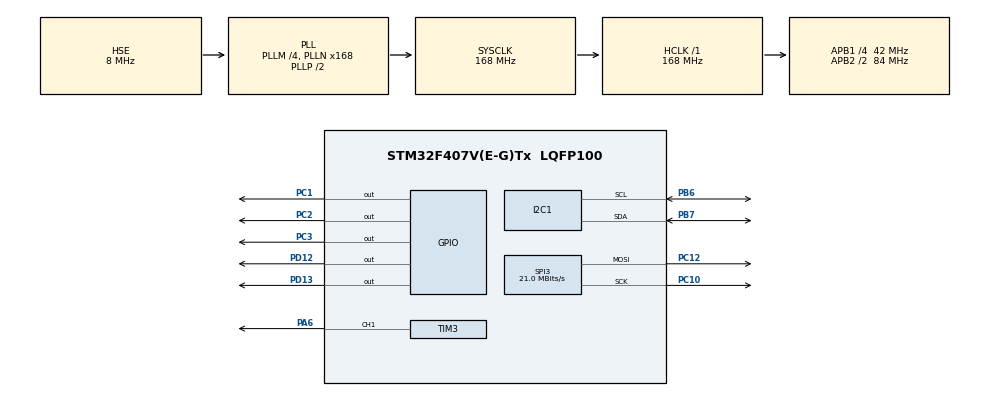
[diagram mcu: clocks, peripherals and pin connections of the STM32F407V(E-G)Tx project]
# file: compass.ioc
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Mcu.Family=STM32F4
Mcu.Name=STM32F407V(E-G)Tx
Mcu.Package=LQFP100
NVIC.PriorityGroup=NVIC_PRIORITYGROUP_4
PA6.Signal=S_TIM3_CH1
PB6.Mode=I2C
PB6.Signal=I2C1_SCL
PB7.Mode=I2C
PB7.Signal=I2C1_SDA
PC1.Signal=GPIO_Output
PC10.Mode=TX_Only_Simplex_Unidirect_Master
PC10.Signal=SPI3_SCK
PC12.Mode=TX_Only_Simplex_Unidirect_Master
PC12.Signal=SPI3_MOSI
PC2.Signal=GPIO_Output
PC3.Signal=GPIO_Output
PD12.GPIO_ModeDefaultOutputPP=GPIO_MODE_OUTPUT_PP
PD12.GPIO_PuPd=GPIO_PULLDOWN
PD12.Signal=GPIO_Output
PD13.GPIO_PuPd=GPIO_PULLDOWN
PD13.Signal=GPIO_Output
PH0-OSC_IN.Mode=HSE-External-Oscillator
PH0-OSC_IN.Signal=RCC_OSC_IN
PH1-OSC_OUT.Mode=HSE-External-Oscillator
PH1-OSC_OUT.Signal=RCC_OSC_OUT
ProjectManager.HeapSize=0x200
ProjectManager.StackSize=0x400
ProjectManager.TargetToolchain=SW4STM32
RCC.48MHZClocksFreq_Value=84000000
RCC.AHBFreq_Value=168000000
RCC.APB1CLKDivider=RCC_HCLK_DIV4
RCC.APB1Freq_Value=42000000
RCC.APB1TimFreq_Value=84000000
RCC.APB2CLKDivider=RCC_HCLK_DIV2
RCC.APB2Freq_Value=84000000
RCC.APB2TimFreq_Value=168000000
RCC.CortexFreq_Value=168000000
RCC.HCLKFreq_Value=168000000
RCC.HSE_VALUE=8000000
RCC.HSI_VALUE=16000000
RCC.LSE_VALUE=32768
RCC.PLLM=4
RCC.PLLN=168
RCC.PLLSourceVirtual=RCC_PLLSOURCE_HSE
RCC.SYSCLKFreq_VALUE=168000000
RCC.SYSCLKSource=RCC_SYSCLKSOURCE_PLLCLK
RCC.VCOOutputFreq_Value=336000000
SH.S_TIM3_CH1.0=TIM3_CH1,PWM Generation1 CH1
SPI3.CalculateBaudRate=21.0 MBits/s
SPI3.Direction=SPI_DIRECTION_2LINES
SPI3.Mode=SPI_MODE_MASTER
SPI3.VirtualType=VM_MASTER
TIM3.Channel-PWM\ Generation1\ CH1=TIM_CHANNEL_1
TIM3.Period=999
TIM3.Prescaler=299
TIM3.Pulse-PWM\ Generation1\ CH1=50
board=custom

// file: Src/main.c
/* USER CODE BEGIN Header */
/**
  ******************************************************************************
  * @file           : main.c
  * @brief          : Main program body
  ******************************************************************************
  ** This notice applies to any and all portions of this file
  * that are not between comment pairs USER CODE BEGIN and
  * USER CODE END. Other portions of this file, whether
  * inserted by the user or by software development tools
  * are owned by their respective copyright owners.
  *
  * COPYRIGHT(c) 2019 STMicroelectronics
  *
  * Redistribution and use in source and binary forms, with or without modification,
  * are permitted provided that the following conditions are met:
  *   1. Redistributions of source code must retain the above copyright notice,
  *      this list of conditions and the following disclaimer.
  *   2. Redistributions in binary form must reproduce the above copyright notice,
  *      this list of conditions and the following disclaimer in the documentation
  *      and/or other materials provided with the distribution.
  *   3. Neither the name of STMicroelectronics nor the names of its contributors
  *      may be used to endorse or promote products derived from this software
  *      without specific prior written permission.
  *
  * THIS SOFTWARE IS PROVIDED BY THE COPYRIGHT HOLDERS AND CONTRIBUTORS "AS IS"
  * AND ANY EXPRESS OR IMPLIED WARRANTIES, INCLUDING, BUT NOT LIMITED TO, THE
  * IMPLIED WARRANTIES OF MERCHANTABILITY AND FITNESS FOR A PARTICULAR PURPOSE ARE
  * DISCLAIMED. IN NO EVENT SHALL THE COPYRIGHT HOLDER OR CONTRIBUTORS BE LIABLE
  * FOR ANY DIRECT, INDIRECT, INCIDENTAL, SPECIAL, EXEMPLARY, OR CONSEQUENTIAL
  * DAMAGES (INCLUDING, BUT NOT LIMITED TO, PROCUREMENT OF SUBSTITUTE GOODS OR
  * SERVICES; LOSS OF USE, DATA, OR PROFITS; OR BUSINESS INTERRUPTION) HOWEVER
  * CAUSED AND ON ANY THEORY OF LIABILITY, WHETHER IN CONTRACT, STRICT LIABILITY,
  * OR TORT (INCLUDING NEGLIGENCE OR OTHERWISE) ARISING IN ANY WAY OUT OF THE USE
  * OF THIS SOFTWARE, EVEN IF ADVISED OF THE POSSIBILITY OF SUCH DAMAGE.
  *
  ******************************************************************************
  */
/* USER CODE END Header */

#include "main.h"

/* USER CODE BEGIN Includes */
#include <math.h>
#include <stdlib.h>

#include "font.h"
/* USER CODE END Includes */

/* USER CODE BEGIN PTD */
    typedef struct vectorint
    {
      int16_t x, y, z;
    } vectori;
    typedef struct vectorfloat
    {
      float x, y, z;
    } vectorf;
/* USER CODE END PTD */

/* USER CODE BEGIN PD */
#define LSM303D_ADDR				0x3a
#define LSM303D_TEMP_OUT			0x05
#define LSM303D_STATUS_M			0x07
#define LSM303D_OUT_X_M				0x08
#define LSM303D_OUT_Y_M				0x0a
#define LSM303D_OUT_Z_M				0x0c
#define LSM303D_WHO_AM_I			0x0f
#define LSM303D_CTRL0				0x1f
#define LSM303D_CTRL1				0x20
#define LSM303D_CTRL2				0x21
#define LSM303D_CTRL3				0x22
#define LSM303D_CTRL4				0x23
#define LSM303D_CTRL5				0x24
#define LSM303D_CTRL6				0x25
#define LSM303D_CTRL7				0x26
#define LSM303D_STATUS				0x27
#define LSM303D_OUT_X_A				0x28
#define LSM303D_OUT_Y_A				0x2a
#define LSM303D_OUT_Z_A				0x2c

#define LCD_DC			GPIO_PIN_1
#define LCD_CE			GPIO_PIN_2
#define LCD_RST			GPIO_PIN_3

#define PCD8544_FUNCTION_SET		0x20
#define PCD8544_DISP_CONTROL		0x08
#define PCD8544_DISP_NORMAL			0x0c
#define PCD8544_SET_Y				0x40
#define PCD8544_SET_X				0x80
#define PCD8544_H_TC				0x04
#define PCD8544_H_BIAS				0x10
#define PCD8544_H_VOP				0x80

#define LCD_BUFFER_SIZE			(84 * 48 / 8)
/* USER CODE END PD */

I2C_HandleTypeDef hi2c1;

SPI_HandleTypeDef hspi3;

TIM_HandleTypeDef htim3;

/* USER CODE BEGIN PV */
int16_t a_x;
int16_t a_y;
int16_t a_z;
int16_t m_x;
int16_t m_y;
int16_t m_z;
float heading;
float heading2;
/* USER CODE END PV */

void SystemClock_Config(void);
static void MX_GPIO_Init(void);
static void MX_I2C1_Init(void);
static void MX_SPI3_Init(void);
static void MX_TIM3_Init(void);
/* USER CODE BEGIN PFP */
uint8_t lsm_read_reg(uint8_t reg)
{
	uint8_t value = 0;

	HAL_I2C_Mem_Read(&hi2c1, LSM303D_ADDR, reg, 1, &value, sizeof(value), HAL_MAX_DELAY);
	return value;
}

void lsm_write_reg(uint8_t reg, uint8_t value)
{
	HAL_I2C_Mem_Write(&hi2c1, LSM303D_ADDR, reg, 1, &value, sizeof(value), HAL_MAX_DELAY);
}

int16_t lsm_read_value(uint8_t reg)
{
	int16_t value = 0;

	HAL_I2C_Mem_Read(&hi2c1, LSM303D_ADDR, reg | 0x80, 1, (uint8_t*)&value, sizeof(value), HAL_MAX_DELAY);

	return value;
}

// LCD
static uint8_t lcd_buffer[LCD_BUFFER_SIZE];

void lcd_cmd(uint8_t cmd)
{
	HAL_GPIO_WritePin(GPIOC, LCD_CE|LCD_DC, GPIO_PIN_RESET);
	HAL_SPI_Transmit(&hspi3, &cmd, 1, HAL_MAX_DELAY);
	HAL_GPIO_WritePin(GPIOC, LCD_CE|LCD_DC, GPIO_PIN_SET);
}

void lcd_setup(void)
{
	HAL_GPIO_WritePin(GPIOC, LCD_RST, GPIO_PIN_RESET);
	HAL_GPIO_WritePin(GPIOC, LCD_RST, GPIO_PIN_SET);

	lcd_cmd(PCD8544_FUNCTION_SET | 1);
	lcd_cmd(PCD8544_H_BIAS | 4);
	lcd_cmd(PCD8544_H_VOP | 0x2f);
	lcd_cmd(PCD8544_FUNCTION_SET);
	lcd_cmd(PCD8544_DISP_NORMAL);
}

void lcd_clear(void)
{
	memset(lcd_buffer, 0, LCD_BUFFER_SIZE);
}

void lcd_draw_text(int row, int col, const char* text)
{
	int i;
	uint8_t* pbuf = &lcd_buffer[row * 84 + col];
	while ((*text) && (pbuf < &lcd_buffer[LCD_BUFFER_SIZE - 6])) {
		int ch = *text++;
		const uint8_t* font = &font_ASCII[ch - ' '][0];
		for (i = 0; i < 5; i++) {
			*pbuf++ = *font++;
		}
		*pbuf++ = 0;
	}
}

void lcd_copy(void)
{
	HAL_GPIO_WritePin(GPIOC, LCD_DC, GPIO_PIN_SET);
	HAL_GPIO_WritePin(GPIOC, LCD_CE, GPIO_PIN_RESET);
	HAL_SPI_Transmit(&hspi3, lcd_buffer, LCD_BUFFER_SIZE, HAL_MAX_DELAY);
	HAL_GPIO_WritePin(GPIOC, LCD_CE, GPIO_PIN_SET);
}

// Data gathering - LSM303D
int16_t convert_data(int16_t value) {
	if(((value & ( 1 << 16 )) >> 16) == 1) {
		return ~value + 1;
	} else {
		return value;
	}
}

void vector_crossi(const vectori *a, const vectori *b, vectorf *out)
{
  out->x = (a->y * b->z) - (a->z * b->y);
  out->y = (a->z * b->x) - (a->x * b->z);
  out->z = (a->x * b->y) - (a->y * b->x);
}

void vector_crossf(const vectori *a, const vectorf *b, vectorf *out)
{
  out->x = (a->y * b->z) - (a->z * b->y);
  out->y = (a->z * b->x) - (a->x * b->z);
  out->z = (a->x * b->y) - (a->y * b->x);
}

float vector_doti(const vectorf *a, const vectori *b)
{
  return (a->x * b->x) + (a->y * b->y) + (a->z * b->z);
}

float vector_dotf(const vectorf *a, const vectorf *b)
{
  return (a->x * b->x) + (a->y * b->y) + (a->z * b->z);
}

void vector_normalize(vectorf *a)
{
  float mag = sqrt(vector_dotf(a, a));
  a->x /= mag;
  a->y /= mag;
  a->z /= mag;
}

float head(int16_t a1, int16_t a2, int16_t a3, int16_t m1, int16_t m2, int16_t m3)
{
	vectori from = {1, 0, 0};
	vectori temp_m = {m1, m2, m3};
	vectori a = {a1, a2, a3};

    // compute E and N
    vectorf E;
    vectorf N;
    vector_crossi(&temp_m, &a, &E); //i, i, f
    vector_normalize(&E); //f
    vector_crossf(&a, &E, &N); //i, f, f
    vector_normalize(&N); //f

    // compute heading
    float head = atan2(vector_doti(&E, &from), vector_doti(&N, &from)) * 180 / 3.14159;
    if (head < 0) head += 360;
    return head;
}
/* USER CODE END PFP */

int main(void)
{

  /* MCU Configuration--------------------------------------------------------*/

  /* Reset of all peripherals, Initializes the Flash interface and the Systick. */
  HAL_Init();

  /* Configure the system clock */
  SystemClock_Config();

  /* Initialize all configured peripherals */
  MX_GPIO_Init();
  MX_I2C1_Init();
  MX_SPI3_Init();
  MX_TIM3_Init();
  /* USER CODE BEGIN 2 */
  HAL_TIM_Base_Start_IT(&htim3);
  HAL_TIM_PWM_Start(&htim3, TIM_CHANNEL_1);
  TIM3->CCR1 = 1000;

	uint8_t who_am_i = lsm_read_reg(0x0F);

	 if (who_am_i == 0x49) {
		 HAL_GPIO_WritePin(GPIOD, GPIO_PIN_12, GPIO_PIN_SET);
	 } else {
		 HAL_GPIO_WritePin(GPIOD, GPIO_PIN_13, GPIO_PIN_SET);
	 }

	 lsm_write_reg(LSM303D_CTRL1, 0x57);
	 lsm_write_reg(LSM303D_CTRL5, 0x64);
	 lsm_write_reg(LSM303D_CTRL7, 0x00);

  /* USER CODE END 2 */

  /* Infinite loop */
  /* USER CODE BEGIN WHILE */
  while (1)
  {
	  for(int i=0;i<1000000;i++) {}

	  a_x = lsm_read_value(LSM303D_OUT_X_A);
	  a_y = lsm_read_value(LSM303D_OUT_Y_A);
	  a_z = lsm_read_value(LSM303D_OUT_Z_A);
	  m_x = lsm_read_value(LSM303D_OUT_X_M);
	  m_y = lsm_read_value(LSM303D_OUT_Y_M);
	  m_z = lsm_read_value(LSM303D_OUT_Z_M);

	  int16_t xGaussData = m_x * 0.160;
	  int16_t yGaussData = m_y * 0.160;

		  heading = atan2(yGaussData, xGaussData) * (180 / 3.14159);

		  for(int i=0;i<10000000;i++) ;

		  heading2 = head(a_x, a_y, a_z, m_x, m_y, m_z);

		  char text[10];
		  int more = (int)heading2;
		  int less = (int)(heading2 * 100) % 100;
		  sprintf(text, "Kat: %03d\.%02d", more, less);

		  char text2[12];
		  char *text3;

		  if (heading2 >= 337.5 || heading2 < 22.5) {
			  text3 = " N";
		  } else if (heading2 >= 292.5 && heading2 < 337.5) {
			  text3 = "NW";
		  } else if (heading2 >= 247.5 && heading2 < 292.5) {
			  text3 = " W";
		  } else if (heading2 >= 202.5 && heading2 < 247.5) {
			  text3 = "SW";
		  } else if (heading2 >= 157.5 && heading2 < 202.5) {
			  text3 = " S";
		  } else if (heading2 >= 112.5 && heading2 < 157.5) {
			  text3 = "SE";
		  } else if (heading2 >= 67.5 && heading2 < 112.5) {
			  text3 = " E";
		  } else if (heading2 >= 22.5 && heading2 < 67.5) {
			  text3 = "NE";
		  }

		  sprintf(text2, "Kierunek: %s", text3);

		  lcd_setup();
		  lcd_clear();

		  lcd_draw_text(0, 0 * 10, text);
		  lcd_draw_text(1, 0 * 6, text2);
		  lcd_copy();
    /* USER CODE END WHILE */

  }
}

void SystemClock_Config(void)
{
  RCC_OscInitTypeDef RCC_OscInitStruct = {0};
  RCC_ClkInitTypeDef RCC_ClkInitStruct = {0};

  /** Configure the main internal regulator output voltage
  */
  __HAL_RCC_PWR_CLK_ENABLE();
  __HAL_PWR_VOLTAGESCALING_CONFIG(PWR_REGULATOR_VOLTAGE_SCALE1);
  /** Initializes the CPU, AHB and APB busses clocks
  */
  RCC_OscInitStruct.OscillatorType = RCC_OSCILLATORTYPE_HSE;
  RCC_OscInitStruct.HSEState = RCC_HSE_ON;
  RCC_OscInitStruct.PLL.PLLState = RCC_PLL_ON;
  RCC_OscInitStruct.PLL.PLLSource = RCC_PLLSOURCE_HSE;
  RCC_OscInitStruct.PLL.PLLM = 4;
  RCC_OscInitStruct.PLL.PLLN = 168;
  RCC_OscInitStruct.PLL.PLLP = RCC_PLLP_DIV2;
  RCC_OscInitStruct.PLL.PLLQ = 4;
  if (HAL_RCC_OscConfig(&RCC_OscInitStruct) != HAL_OK)
  {
    Error_Handler();
  }
  /** Initializes the CPU, AHB and APB busses clocks
  */
  RCC_ClkInitStruct.ClockType = RCC_CLOCKTYPE_HCLK|RCC_CLOCKTYPE_SYSCLK
                              |RCC_CLOCKTYPE_PCLK1|RCC_CLOCKTYPE_PCLK2;
  RCC_ClkInitStruct.SYSCLKSource = RCC_SYSCLKSOURCE_PLLCLK;
  RCC_ClkInitStruct.AHBCLKDivider = RCC_SYSCLK_DIV1;
  RCC_ClkInitStruct.APB1CLKDivider = RCC_HCLK_DIV4;
  RCC_ClkInitStruct.APB2CLKDivider = RCC_HCLK_DIV2;

  if (HAL_RCC_ClockConfig(&RCC_ClkInitStruct, FLASH_LATENCY_5) != HAL_OK)
  {
    Error_Handler();
  }
}

static void MX_I2C1_Init(void)
{

  hi2c1.Instance = I2C1;
  hi2c1.Init.ClockSpeed = 100000;
  hi2c1.Init.DutyCycle = I2C_DUTYCYCLE_2;
  hi2c1.Init.OwnAddress1 = 0;
  hi2c1.Init.AddressingMode = I2C_ADDRESSINGMODE_7BIT;
  hi2c1.Init.DualAddressMode = I2C_DUALADDRESS_DISABLE;
  hi2c1.Init.OwnAddress2 = 0;
  hi2c1.Init.GeneralCallMode = I2C_GENERALCALL_DISABLE;
  hi2c1.Init.NoStretchMode = I2C_NOSTRETCH_DISABLE;
  if (HAL_I2C_Init(&hi2c1) != HAL_OK)
  {
    Error_Handler();
  }

}

static void MX_SPI3_Init(void)
{

  /* SPI3 parameter configuration*/
  hspi3.Instance = SPI3;
  hspi3.Init.Mode = SPI_MODE_MASTER;
  hspi3.Init.Direction = SPI_DIRECTION_2LINES;
  hspi3.Init.DataSize = SPI_DATASIZE_8BIT;
  hspi3.Init.CLKPolarity = SPI_POLARITY_LOW;
  hspi3.Init.CLKPhase = SPI_PHASE_1EDGE;
  hspi3.Init.NSS = SPI_NSS_SOFT;
  hspi3.Init.BaudRatePrescaler = SPI_BAUDRATEPRESCALER_2;
  hspi3.Init.FirstBit = SPI_FIRSTBIT_MSB;
  hspi3.Init.TIMode = SPI_TIMODE_DISABLE;
  hspi3.Init.CRCCalculation = SPI_CRCCALCULATION_DISABLE;
  hspi3.Init.CRCPolynomial = 10;
  if (HAL_SPI_Init(&hspi3) != HAL_OK)
  {
    Error_Handler();
  }

}

static void MX_TIM3_Init(void)
{

  TIM_MasterConfigTypeDef sMasterConfig = {0};
  TIM_OC_InitTypeDef sConfigOC = {0};

  htim3.Instance = TIM3;
  htim3.Init.Prescaler = 299;
  htim3.Init.CounterMode = TIM_COUNTERMODE_UP;
  htim3.Init.Period = 999;
  htim3.Init.ClockDivision = TIM_CLOCKDIVISION_DIV1;
  htim3.Init.AutoReloadPreload = TIM_AUTORELOAD_PRELOAD_DISABLE;
  if (HAL_TIM_PWM_Init(&htim3) != HAL_OK)
  {
    Error_Handler();
  }
  sMasterConfig.MasterOutputTrigger = TIM_TRGO_RESET;
  sMasterConfig.MasterSlaveMode = TIM_MASTERSLAVEMODE_DISABLE;
  if (HAL_TIMEx_MasterConfigSynchronization(&htim3, &sMasterConfig) != HAL_OK)
  {
    Error_Handler();
  }
  sConfigOC.OCMode = TIM_OCMODE_PWM1;
  sConfigOC.Pulse = 50;
  sConfigOC.OCPolarity = TIM_OCPOLARITY_HIGH;
  sConfigOC.OCFastMode = TIM_OCFAST_DISABLE;
  if (HAL_TIM_PWM_ConfigChannel(&htim3, &sConfigOC, TIM_CHANNEL_1) != HAL_OK)
  {
    Error_Handler();
  }
  HAL_TIM_MspPostInit(&htim3);

}

static void MX_GPIO_Init(void)
{
  GPIO_InitTypeDef GPIO_InitStruct = {0};

  /* GPIO Ports Clock Enable */
  __HAL_RCC_GPIOH_CLK_ENABLE();
  __HAL_RCC_GPIOC_CLK_ENABLE();
  __HAL_RCC_GPIOA_CLK_ENABLE();
  __HAL_RCC_GPIOD_CLK_ENABLE();
  __HAL_RCC_GPIOB_CLK_ENABLE();

  /*Configure GPIO pin Output Level */
  HAL_GPIO_WritePin(GPIOC, GPIO_PIN_1|GPIO_PIN_2|GPIO_PIN_3, GPIO_PIN_RESET);

  /*Configure GPIO pin Output Level */
  HAL_GPIO_WritePin(GPIOD, GPIO_PIN_12|GPIO_PIN_13, GPIO_PIN_RESET);

  /*Configure GPIO pins : PC1 PC2 PC3 */
  GPIO_InitStruct.Pin = GPIO_PIN_1|GPIO_PIN_2|GPIO_PIN_3;
  GPIO_InitStruct.Mode = GPIO_MODE_OUTPUT_PP;
  GPIO_InitStruct.Pull = GPIO_NOPULL;
  GPIO_InitStruct.Speed = GPIO_SPEED_FREQ_LOW;
  HAL_GPIO_Init(GPIOC, &GPIO_InitStruct);

  /*Configure GPIO pins : PD12 PD13 */
  GPIO_InitStruct.Pin = GPIO_PIN_12|GPIO_PIN_13;
  GPIO_InitStruct.Mode = GPIO_MODE_OUTPUT_PP;
  GPIO_InitStruct.Pull = GPIO_PULLDOWN;
  GPIO_InitStruct.Speed = GPIO_SPEED_FREQ_LOW;
  HAL_GPIO_Init(GPIOD, &GPIO_InitStruct);

}

void Error_Handler(void)
{
}

/************************ (C) COPYRIGHT STMicroelectronics *****END OF FILE****/
